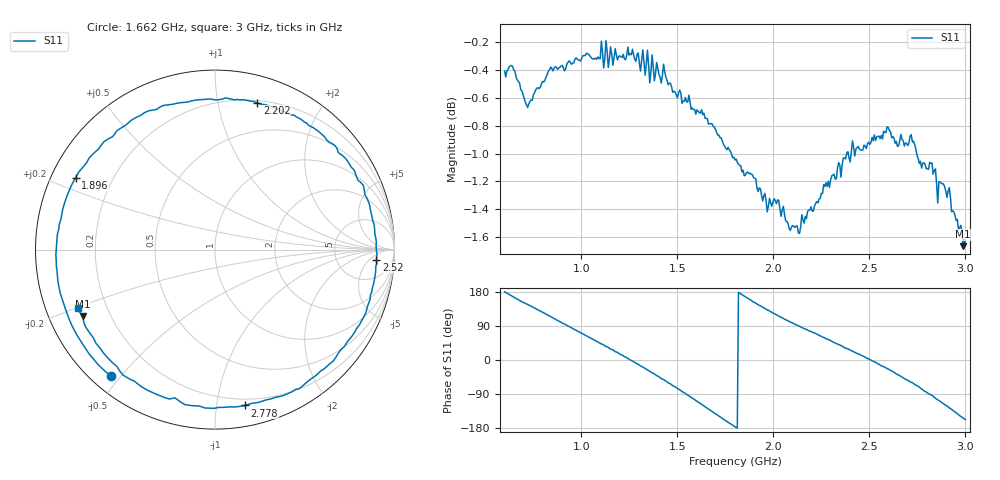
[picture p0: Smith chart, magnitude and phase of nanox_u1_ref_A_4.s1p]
! nanovna_capture.py 2026-10-18T19:31:58+0900
! NanoVNA-F_V2 fw 0.6.0 SN 4A3639384505514B
! cal: load open short cal'ed  over 600000000-3000000000 Hz, 201 points
! points 401, avg 4
! genuine Nano X u1, position A, tip touching shell, placement 4 (after tampered set, drift check)
# HZ S RI R 50
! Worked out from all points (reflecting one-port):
!   401 points, 600 MHz to 3 GHz, reference 50 ohm
!   lowest |S11| = -1.7 dB at 2.988 GHz (marker M1), VSWR 10.48, Z = 5.04 - j11.8 ohm
!   phase of S11 starts at 180 deg and turns -697 deg over the sweep
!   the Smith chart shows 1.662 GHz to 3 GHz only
!   S11 on the Smith chart (normalised r, x): 1.662 GHz: 0.06, -0.47; 1.896 GHz: 0.07, +0.24; 2.202 GHz: 0.22, +1.31; 2.52 GHz: 14, -8; 2.778 GHz: 0.15, -1.20; 3 GHz: 0.10, -0.20
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6e8  -0.9539 0.00248
7.5e8  -0.7063 0.6135
8.28e8  -0.4451 0.8436
9e8  -0.1287 0.9497
1.032e9  0.453 0.855
1.116e9  0.7333 0.6139
1.2e9  0.9309 0.2574
1.26e9  0.9666 -0.0196
1.332e9  0.877 -0.3671
1.422e9  0.6055 -0.7329
1.5e9  0.2399 -0.9018
1.572e9  -0.1442 -0.913
1.662e9  -0.5788 -0.7062
1.728e9  -0.7959 -0.426
1.8e9  -0.8843 -0.0633
1.896e9  -0.7772 0.3997
2.01e9  -0.4408 0.7354
2.1e9  -0.1123 0.8324
2.202e9  0.236 0.8166
2.298e9  0.5458 0.6803
2.4e9  0.7957 0.3877
2.52e9  0.8991 -0.0557
2.61e9  0.8053 -0.4184
2.7e9  0.533 -0.7217
2.778e9  0.1678 -0.8681
2.88e9  -0.3448 -0.7979
2.988e9  -0.7372 -0.372
3e9  -0.7625 -0.3229
